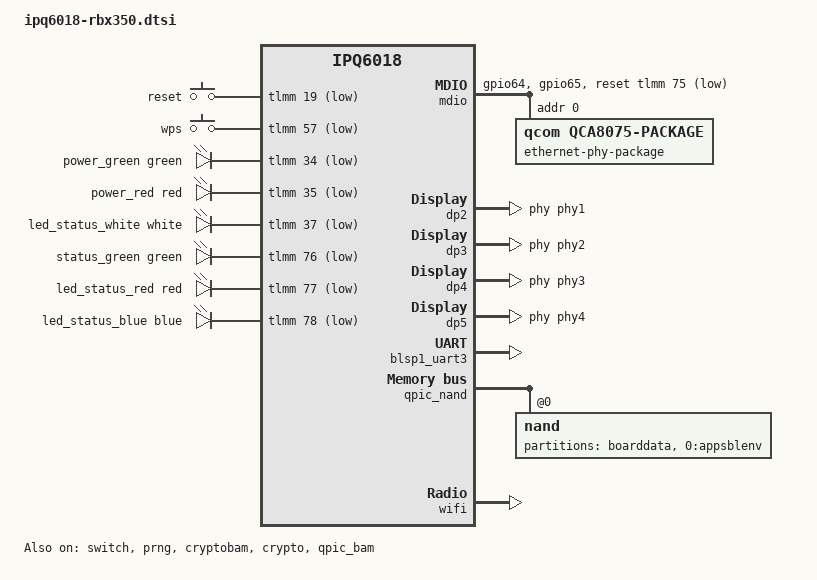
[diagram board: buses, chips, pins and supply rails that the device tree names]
#include "ipq6018-512m.dtsi"
#include "ipq6018-cp-cpu.dtsi"
#include "ipq6018-ess.dtsi"
#include <dt-bindings/gpio/gpio.h>
#include <dt-bindings/input/input.h>
#include <dt-bindings/leds/common.h>

/ {
	aliases {
		led-boot = &led_status_white;
		led-failsafe = &led_status_red;
		led-upgrade = &led_status_blue;
		serial0 = &blsp1_uart3;
		label-mac-device = &dp5;
	};


	chosen {
		stdout-path = "serial0:115200n8";
		bootargs-append = " ubi.mtd=rootfs root=/dev/ubiblock0_1";
	};

	keys {
		compatible = "gpio-keys";

		reset {
			label = "reset";
			gpios = <&tlmm 19 GPIO_ACTIVE_LOW>;
			linux,code = <KEY_RESTART>;
			debounce-interval = <60>;
		};

		wps {
			label = "wps";
			gpios = <&tlmm 57 GPIO_ACTIVE_LOW>;
			linux,code = <KEY_WPS_BUTTON>;
			debounce-interval = <60>;
		};
	};

	leds {
		compatible = "gpio-leds";

		power_green {
			function = LED_FUNCTION_POWER;
			color = <LED_COLOR_ID_GREEN>;
			gpios = <&tlmm 34 GPIO_ACTIVE_LOW>;
			default-state = "on";
		};

		power_red {
			function = LED_FUNCTION_FAULT;
			color = <LED_COLOR_ID_RED>;
			gpios = <&tlmm 35 GPIO_ACTIVE_LOW>;
		};

		led_status_white: status_white {
			function = LED_FUNCTION_STATUS;
			color = <LED_COLOR_ID_WHITE>;
			gpios = <&tlmm 37 GPIO_ACTIVE_LOW>;
		};

		status_green {
			function = LED_FUNCTION_STATUS;
			color = <LED_COLOR_ID_GREEN>;
			gpios = <&tlmm 76 GPIO_ACTIVE_LOW>;
		};

		led_status_red: status_red {
			function = LED_FUNCTION_STATUS;
			color = <LED_COLOR_ID_RED>;
			gpios = <&tlmm 77 GPIO_ACTIVE_LOW>;
		};

		led_status_blue: status_blue {
			function = LED_FUNCTION_STATUS;
			color = <LED_COLOR_ID_BLUE>;
			gpios = <&tlmm 78 GPIO_ACTIVE_LOW>;
		};
	};
};

&edma {
	status = "okay";
};

&switch {
	status = "okay";

	switch_lan_bmp = <(ESS_PORT2 | ESS_PORT3 | ESS_PORT4 | ESS_PORT5)>;
	switch_wan_bmp = <ESS_PORT1>;
	switch_mac_mode = <MAC_MODE_PSGMII>;

	qcom,port_phyinfo {
		port@1 {
			port_id = <1>;
			phy_address = <0>;
		};

		port@2 {
			port_id = <2>;
			phy_address = <1>;
		};

		port@3 {
			port_id = <3>;
			phy_address = <2>;
		};

		port@4 {
			port_id = <4>;
			phy_address = <3>;
		};

		port@5 {
			port_id = <5>;
			phy_address = <4>;
		};
	};
};

&tlmm {
	mdio_pins: mdio-pins {
		mdc {
			pins = "gpio64";
			function = "mdc";
			drive-strength = <8>;
			bias-pull-up;
		};

		mdio {
			pins = "gpio65";
			function = "mdio";
			drive-strength = <8>;
			bias-pull-up;
		};
	};
};

&mdio {
	status = "okay";

	pinctrl-0 = <&mdio_pins>;
	pinctrl-names = "default";
	reset-gpios = <&tlmm 75 GPIO_ACTIVE_LOW>;
	reset-delay-us = <10000>;
	reset-post-delay-us = <50000>;

	ethernet-phy-package {
		#address-cells = <1>;
		#size-cells = <0>;
		compatible = "qcom,qca8075-package";
		reg = <0>;

		qcom,package-mode = "psgmii";

		phy0: ethernet-phy@0 {
			compatible = "ethernet-phy-ieee802.3-c22";
			reg = <0>;
		};

		phy1: ethernet-phy@1 {
			compatible = "ethernet-phy-ieee802.3-c22";
			reg = <1>;
		};

		phy2: ethernet-phy@2 {
			compatible = "ethernet-phy-ieee802.3-c22";
			reg = <2>;
		};

		phy3: ethernet-phy@3 {
			compatible = "ethernet-phy-ieee802.3-c22";
			reg = <3>;
		};

		phy4: ethernet-phy@4 {
			compatible = "ethernet-phy-ieee802.3-c22";
			reg = <4>;
		};
	};
};

&dp2 {
	status = "okay";
	phy-handle = <&phy1>;
	label = "wan";
	nvmem-cells = <&macaddr_boarddata 3>;
	nvmem-cell-names = "mac-address";
};

&dp3 {
	status = "okay";
	phy-handle = <&phy2>;
	label = "lan3";
	nvmem-cells = <&macaddr_boarddata 2>;
	nvmem-cell-names = "mac-address";
};

&dp4 {
	status = "okay";
	phy-handle = <&phy3>;
	label = "lan2";
	nvmem-cells = <&macaddr_boarddata 1>;
	nvmem-cell-names = "mac-address";
};

&dp5 {
	status = "okay";
	phy-handle = <&phy4>;
	label = "lan1";
	nvmem-cells = <&macaddr_boarddata 0>;
	nvmem-cell-names = "mac-address";
};

&blsp1_uart3 {
	pinctrl-0 = <&serial_3_pins>;
	pinctrl-names = "default";
	status = "okay";
};

&prng {
	status = "okay";
};

&cryptobam {
	status = "okay";
};

&crypto {
	status = "okay";
};

&qpic_bam {
	status = "okay";
};

&qpic_nand {
	status = "okay";

	nand@0 {
		reg = <0>;
		nand-ecc-strength = <4>;
		nand-ecc-step-size = <512>;
		nand-bus-width = <8>;

		partitions {
			compatible = "qcom,smem-part";

			partition-boarddata {
				label = "boarddata";

				nvmem-layout {
					compatible = "fixed-layout";
					#address-cells = <1>;
					#size-cells = <1>;

					macaddr_boarddata: macaddr@8 {
						compatible = "mac-base";
						reg = <0x8 0x6>;
						#nvmem-cell-cells = <1>;
					};
				};
			};

			partition-0-appsblenv {
				label = "0:appsblenv";

				nvmem-layout {
					compatible = "u-boot,env";
					env-size = <0x40000>;
				};
			};
		};
	};
};

&wifi {
	status = "okay";
	qcom,ath11k-calibration-variant = "Netgear-RBK350";
};
